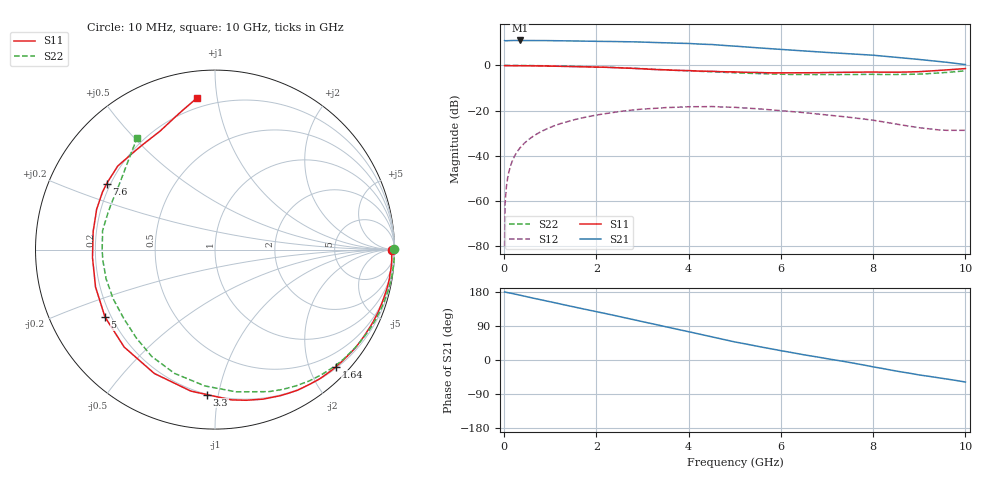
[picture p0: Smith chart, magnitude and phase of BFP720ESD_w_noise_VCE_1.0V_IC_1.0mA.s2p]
! Infineon Technologies  Discrete & RF Semiconductors
! BFP720ESD
! VCE =  1.0 V,  IC =  1.0 mA
! Common Emitter S-Parameters:  Jan 2016
# GHz  S  MA  R  50
!  f  S11  S21  S12  S22
! GHz  MAG  ANG  MAG  ANG  MAG  ANG  MAG  ANG
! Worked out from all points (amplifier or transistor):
!   233 points, 10 MHz to 10 GHz, reference 50 ohm
!   highest |S21| = 11.0 dB at 340 MHz (marker M1)
!   |S21| within 3 dB of that: start of sweep to 5.321 GHz
!   unconditionally stable (mu >= 1): 7.744 GHz to end of sweep
!   at 200 MHz: K = 0.01, MSG = 26.1 dB, |S12| = -41.2 dB
!   at 1.74 GHz: K = 0.15, MSG = 16.9 dB, |S12| = -23.0 dB
!   at 10 GHz: K = 1.06, MAG = 13.0 dB, |S12| = -28.7 dB
!   lowest NFmin = 0.56 dB at 450 MHz
!   S11 on the Smith chart (normalised r, x): 10 MHz: open; 1.64 GHz: 0.23, -2.45; 3.3 GHz: 0.20, -0.93; 5 GHz: 0.18, -0.27; 7.6 GHz: 0.18, +0.27; 10 GHz: 0.14, +0.88
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0.01  0.9863 0.0  3.557 179.4  0.0001 -31.8  1 0.1
0.015  0.9885 -0.3  3.534 179.4  0.0004 86.2  0.9994 -0.1
0.02  0.9908 -0.6  3.511 179.5  0.0008 92.5  0.9988 -0.4
0.065  0.9848 -1.6  3.529 178.1  0.0028 89.5  0.9994 -1.4
0.165  0.9867 -4.3  3.557 175.7  0.0072 86.6  0.9992 -3.6
0.34  0.9851 -8.9  3.566 171.2  0.0148 82.3  0.9972 -7.6
0.92  0.969 -24.4  3.54 155.7  0.0393 68.7  0.9812 -20.5
1.64  0.9378 -44.1  3.462 136.8  0.0672 51.9  0.9485 -36.9
1.68  0.9362 -45.2  3.456 135.7  0.0686 51.1  0.9466 -37.8
2.6  0.8773 -71.6  3.359 111.9  0.0984 30.2  0.8831 -59.3
3.3  0.8091 -93.2  3.204 93.3  0.1126 13.6  0.8149 -76.4
3.4  0.8031 -96.4  3.188 90.5  0.1145 11.4  0.8074 -78.9
4  0.7686 -116.1  3.063 74.6  0.1218 -2.0  0.7617 -94.2
4.5  0.7422 -133.0  2.902 60.9  0.1231 -13.7  0.7256 -108.1
5  0.7189 -148.5  2.681 47.7  0.1181 -24.7  0.6919 -120.6
5.1  0.7112 -151.2  2.628 45.5  0.1162 -26.5  0.6834 -122.7
6  0.684 -176.3  2.266 24.6  0.1 -42.4  0.637 -142.9
6.8  0.6897 165.3  1.992 7.8  0.084 -52.1  0.6264 -160.6
7.6  0.707 148.7  1.784 -8.8  0.0689 -59.3  0.6287 -179.4
8.4  0.7073 129.2  1.543 -26.9  0.0523 -63.2  0.6305 160.9
9  0.7275 114.9  1.353 -39.5  0.0418 -58.4  0.643 146.7
10  0.8512 96.7  1.042 -58.1  0.0366 -39.5  0.7587 124.9
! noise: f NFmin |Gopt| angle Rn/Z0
0.45  0.56  0.81  6  0.42
0.9  0.59  0.81  16  0.4
1.9  0.79  0.7  38  0.38
2.4  0.92  0.68  50  0.39
5.5  1.52  0.49  133  0.12
10  3.38  0.7  -109  0.85
